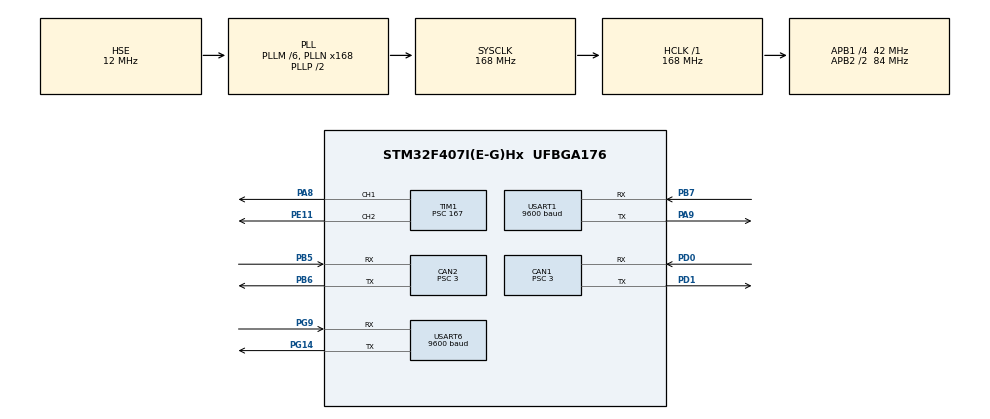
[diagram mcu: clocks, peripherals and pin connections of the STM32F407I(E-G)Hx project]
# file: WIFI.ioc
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CAN1.BS1=CAN_BS1_10TQ
CAN1.BS2=CAN_BS2_3TQ
CAN1.CalculateBaudRate=1000000
CAN1.CalculateTimeBit=1000
CAN1.CalculateTimeQuantum=71.42857142857143
CAN1.Prescaler=3
CAN2.BS1=CAN_BS1_10TQ
CAN2.BS2=CAN_BS2_3TQ
CAN2.CalculateBaudRate=1000000
CAN2.CalculateTimeBit=1000
CAN2.CalculateTimeQuantum=71.42857142857143
CAN2.Prescaler=3
Mcu.Family=STM32F4
Mcu.Name=STM32F407I(E-G)Hx
Mcu.Package=UFBGA176
NVIC.CAN1_RX0_IRQn=true\:0\:0\:true\:false\:true\:true\:true
NVIC.CAN1_RX1_IRQn=true\:0\:0\:true\:false\:true\:true\:true
NVIC.CAN2_RX0_IRQn=true\:0\:0\:false\:false\:true\:true\:true
NVIC.CAN2_RX1_IRQn=true\:0\:0\:false\:false\:true\:true\:true
NVIC.PriorityGroup=NVIC_PRIORITYGROUP_4
NVIC.RCC_IRQn=true\:0\:0\:true\:false\:true\:true\:false
NVIC.TIM1_UP_TIM10_IRQn=true\:0\:0\:false\:false\:true\:true\:true
NVIC.USART1_IRQn=true\:0\:0\:false\:false\:true\:true\:true
NVIC.USART6_IRQn=true\:0\:0\:false\:false\:true\:true\:true
PA13.Mode=Serial_Wire
PA13.Signal=SYS_JTMS-SWDIO
PA14.Mode=Serial_Wire
PA14.Signal=SYS_JTCK-SWCLK
PA8.Signal=S_TIM1_CH1
PA9.Mode=Asynchronous
PA9.Signal=USART1_TX
PB5.Mode=CAN_Activate
PB5.Signal=CAN2_RX
PB6.Mode=CAN_Activate
PB6.Signal=CAN2_TX
PB7.Mode=Asynchronous
PB7.Signal=USART1_RX
PD0.Mode=CAN_Activate
PD0.Signal=CAN1_RX
PD1.Mode=CAN_Activate
PD1.Signal=CAN1_TX
PE11.Signal=S_TIM1_CH2
PG14.Mode=Asynchronous
PG14.Signal=USART6_TX
PG9.Mode=Asynchronous
PG9.Signal=USART6_RX
PH0-OSC_IN.Mode=HSE-External-Oscillator
PH0-OSC_IN.Signal=RCC_OSC_IN
PH1-OSC_OUT.Mode=HSE-External-Oscillator
PH1-OSC_OUT.Signal=RCC_OSC_OUT
ProjectManager.HeapSize=0x200
ProjectManager.StackSize=0x400
ProjectManager.TargetToolchain=MDK-ARM V5.32
RCC.48MHZClocksFreq_Value=84000000
RCC.AHBFreq_Value=168000000
RCC.APB1CLKDivider=RCC_HCLK_DIV4
RCC.APB1Freq_Value=42000000
RCC.APB1TimFreq_Value=84000000
RCC.APB2CLKDivider=RCC_HCLK_DIV2
RCC.APB2Freq_Value=84000000
RCC.APB2TimFreq_Value=168000000
RCC.CortexFreq_Value=168000000
RCC.HCLKFreq_Value=168000000
RCC.HSE_VALUE=12000000
RCC.HSI_VALUE=16000000
RCC.LSE_VALUE=32768
RCC.PLLM=6
RCC.PLLN=168
RCC.PLLSourceVirtual=RCC_PLLSOURCE_HSE
RCC.SYSCLKFreq_VALUE=168000000
RCC.SYSCLKSource=RCC_SYSCLKSOURCE_PLLCLK
RCC.VCOOutputFreq_Value=336000000
SH.S_TIM1_CH1.0=TIM1_CH1,PWM Generation1 CH1
SH.S_TIM1_CH2.0=TIM1_CH2,PWM Generation2 CH2
TIM1.Channel-PWM\ Generation1\ CH1=TIM_CHANNEL_1
TIM1.Channel-PWM\ Generation2\ CH2=TIM_CHANNEL_2
TIM1.Period=19999
TIM1.Prescaler=167
TIM1.Pulse-PWM\ Generation1\ CH1=15000
TIM1.Pulse-PWM\ Generation2\ CH2=15000
USART1.BaudRate=9600
USART1.VirtualMode=VM_ASYNC
USART6.BaudRate=9600
USART6.VirtualMode=VM_ASYNC
VP_TIM1_VS_ClockSourceINT.Mode=Internal
board=custom

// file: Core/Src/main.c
/* USER CODE BEGIN Header */
/**
  ******************************************************************************
  * @file           : main.c
  * @brief          : Main program body
  ******************************************************************************
  * @attention
  *
  * Copyright (c) 2023 STMicroelectronics.
  * All rights reserved.
  *
  * This software is licensed under terms that can be found in the LICENSE file
  * in the root directory of this software component.
  * If no LICENSE file comes with this software, it is provided AS-IS.
  *
  ******************************************************************************
  */
/* USER CODE END Header */
#include "main.h"
#include "can.h"
#include "tim.h"
#include "usart.h"
#include "gpio.h"

/* USER CODE BEGIN Includes */
#include "CAN_receive.h"
#include "bsp_can.h"
#include "pid.h"
/* USER CODE END Includes */

/* USER CODE BEGIN PV */
uint8_t rx_data;
uint16_t speed;

pid_type_def mypid;//这里不能是指针很重要

fp32 kpid[3]={10,0.02,2};//三个系数的数组
fp32 max_out=10000;
fp32 max_iout=10000;
fp32 ref;
fp32 set=20;

fp32 pid_current;

uint16_t wheel[4];
/* USER CODE END PV */

void SystemClock_Config(void);

/* USER CODE BEGIN 0 */
void HAL_UART_RxCpltCallback (UART_HandleTypeDef *huart)
{
    HAL_UART_Transmit_IT (&huart6,&rx_data,1);
    switch(rx_data)
    {
        case 'G':
        {

        }break;
        case 'K':speed=1000;break;
        case 'H':speed=0;break;
        case 'J':speed=0;break;
        default:break;
    }
    HAL_UART_Receive_IT(&huart1,&rx_data,1);
}

void run_pid(void)
{
    ref=get_chassis_motor_measure_point(0)->speed_rpm;
    pid_current=PID_calc(&mypid,ref,set);//set就是我们要给的值，等下你们调参用这个Set
    PID_clear(&mypid);
}
/* USER CODE END 0 */

int main(void)
{

  /* MCU Configuration--------------------------------------------------------*/

  /* Reset of all peripherals, Initializes the Flash interface and the Systick. */
  HAL_Init();

  /* Configure the system clock */
  SystemClock_Config();

  /* Initialize all configured peripherals */
  MX_GPIO_Init();
  MX_CAN1_Init();
  MX_CAN2_Init();
  MX_USART1_UART_Init();
  MX_USART6_UART_Init();
  MX_TIM1_Init();
  /* USER CODE BEGIN 2 */
  HAL_TIM_Base_Start (&htim1);
  HAL_TIM_PWM_Start (&htim1,TIM_CHANNEL_1);
  HAL_TIM_PWM_Start (&htim1,TIM_CHANNEL_2);
 HAL_Delay(100);
//
//   can_filter_init();
//   PID_init(&mypid,PID_POSITION,kpid,max_out,max_iout);
//   HAL_UART_Receive_IT (&huart1,&rx_data,1);

  /* USER CODE END 2 */

  /* Infinite loop */
  while (1)
  {

    /* USER CODE BEGIN 3 */

//          run_pid();
//          CAN_cmd_chassis ((int16_t)pid_current,0,0,0);
//      HAL_Delay(2);//一定一定要加延时函数，不然收不到电调值
//
//      pptr=get_chassis_motor_measure_point(0);
//      HAL_UART_Transmit(&huart6,(uint8_t*)pptr->given_current,20,0xff);

  }
  /* USER CODE END 3 */
}

void SystemClock_Config(void)
{
  RCC_OscInitTypeDef RCC_OscInitStruct = {0};
  RCC_ClkInitTypeDef RCC_ClkInitStruct = {0};

  /** Configure the main internal regulator output voltage
  */
  __HAL_RCC_PWR_CLK_ENABLE();
  __HAL_PWR_VOLTAGESCALING_CONFIG(PWR_REGULATOR_VOLTAGE_SCALE1);
  /** Initializes the RCC Oscillators according to the specified parameters
  * in the RCC_OscInitTypeDef structure.
  */
  RCC_OscInitStruct.OscillatorType = RCC_OSCILLATORTYPE_HSE;
  RCC_OscInitStruct.HSEState = RCC_HSE_ON;
  RCC_OscInitStruct.PLL.PLLState = RCC_PLL_ON;
  RCC_OscInitStruct.PLL.PLLSource = RCC_PLLSOURCE_HSE;
  RCC_OscInitStruct.PLL.PLLM = 6;
  RCC_OscInitStruct.PLL.PLLN = 168;
  RCC_OscInitStruct.PLL.PLLP = RCC_PLLP_DIV2;
  RCC_OscInitStruct.PLL.PLLQ = 4;
  if (HAL_RCC_OscConfig(&RCC_OscInitStruct) != HAL_OK)
  {
    Error_Handler();
  }
  /** Initializes the CPU, AHB and APB buses clocks
  */
  RCC_ClkInitStruct.ClockType = RCC_CLOCKTYPE_HCLK|RCC_CLOCKTYPE_SYSCLK
                              |RCC_CLOCKTYPE_PCLK1|RCC_CLOCKTYPE_PCLK2;
  RCC_ClkInitStruct.SYSCLKSource = RCC_SYSCLKSOURCE_PLLCLK;
  RCC_ClkInitStruct.AHBCLKDivider = RCC_SYSCLK_DIV1;
  RCC_ClkInitStruct.APB1CLKDivider = RCC_HCLK_DIV4;
  RCC_ClkInitStruct.APB2CLKDivider = RCC_HCLK_DIV2;

  if (HAL_RCC_ClockConfig(&RCC_ClkInitStruct, FLASH_LATENCY_5) != HAL_OK)
  {
    Error_Handler();
  }
}

void Error_Handler(void)
{
  __disable_irq();
  while (1)
  {
  }
}
